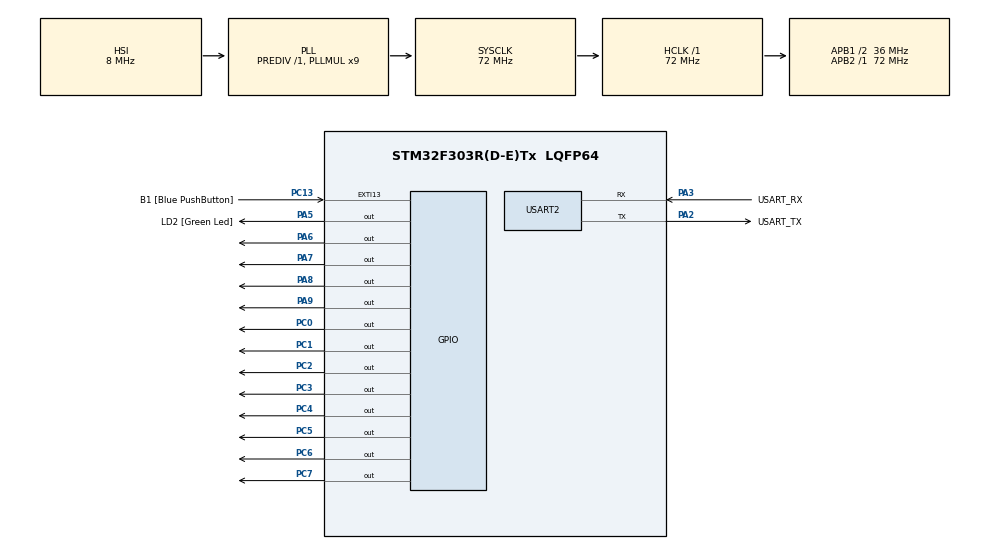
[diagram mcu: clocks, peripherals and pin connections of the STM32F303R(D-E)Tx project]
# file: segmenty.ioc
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Mcu.Family=STM32F3
Mcu.Name=STM32F303R(D-E)Tx
Mcu.Package=LQFP64
NVIC.PriorityGroup=NVIC_PRIORITYGROUP_0
NVIC.TIM1_UP_TIM16_IRQn=true\:0\:0\:false\:false\:true\:true\:true
PA13.GPIO_Label=TMS
PA13.Mode=Serial_Wire
PA13.Signal=SYS_JTMS-SWDIO
PA14.GPIO_Label=TCK
PA14.Mode=Serial_Wire
PA14.Signal=SYS_JTCK-SWCLK
PA2.GPIO_Label=USART_TX
PA2.GPIO_Mode=GPIO_MODE_AF_PP
PA2.GPIO_PuPd=GPIO_NOPULL
PA2.GPIO_Speed=GPIO_SPEED_FREQ_LOW
PA2.Mode=Asynchronous
PA2.Signal=USART2_TX
PA3.GPIO_Label=USART_RX
PA3.GPIO_Mode=GPIO_MODE_AF_PP
PA3.GPIO_PuPd=GPIO_NOPULL
PA3.GPIO_Speed=GPIO_SPEED_FREQ_LOW
PA3.Mode=Asynchronous
PA3.Signal=USART2_RX
PA5.GPIO_Label=LD2 [Green Led]
PA5.GPIO_Mode=GPIO_MODE_OUTPUT_PP
PA5.GPIO_PuPd=GPIO_NOPULL
PA5.GPIO_Speed=GPIO_SPEED_FREQ_LOW
PA5.PinState=GPIO_PIN_SET
PA5.Signal=GPIO_Output
PA6.PinState=GPIO_PIN_SET
PA6.Signal=GPIO_Output
PA7.PinState=GPIO_PIN_SET
PA7.Signal=GPIO_Output
PA8.PinState=GPIO_PIN_SET
PA8.Signal=GPIO_Output
PA9.PinState=GPIO_PIN_SET
PA9.Signal=GPIO_Output
PB3.GPIO_Label=SWO
PB3.Signal=SYS_JTDO-TRACESWO
PC0.PinState=GPIO_PIN_SET
PC0.Signal=GPIO_Output
PC1.PinState=GPIO_PIN_SET
PC1.Signal=GPIO_Output
PC13.GPIO_Label=B1 [Blue PushButton]
PC13.GPIO_ModeDefaultEXTI=GPIO_MODE_IT_FALLING
PC13.Signal=GPXTI13
PC14-OSC32_IN.Mode=LSE-External-Oscillator
PC14-OSC32_IN.Signal=RCC_OSC32_IN
PC15-OSC32_OUT.Mode=LSE-External-Oscillator
PC15-OSC32_OUT.Signal=RCC_OSC32_OUT
PC2.PinState=GPIO_PIN_SET
PC2.Signal=GPIO_Output
PC3.PinState=GPIO_PIN_SET
PC3.Signal=GPIO_Output
PC4.PinState=GPIO_PIN_SET
PC4.Signal=GPIO_Output
PC5.PinState=GPIO_PIN_SET
PC5.Signal=GPIO_Output
PC6.PinState=GPIO_PIN_SET
PC6.Signal=GPIO_Output
PC7.PinState=GPIO_PIN_SET
PC7.Signal=GPIO_Output
PF0-OSC_IN.Mode=HSE-External-Clock-Source
PF0-OSC_IN.Signal=RCC_OSC_IN
PF1-OSC_OUT.Signal=RCC_OSC_OUT
ProjectManager.HeapSize=0x200
ProjectManager.StackSize=0x400
ProjectManager.TargetToolchain=STM32CubeIDE
RCC.AHBFreq_Value=72000000
RCC.APB1CLKDivider=RCC_HCLK_DIV2
RCC.APB1Freq_Value=36000000
RCC.APB1TimFreq_Value=72000000
RCC.APB2Freq_Value=72000000
RCC.APB2TimFreq_Value=72000000
RCC.CortexFreq_Value=72000000
RCC.HCLKFreq_Value=72000000
RCC.HSE_VALUE=8000000
RCC.HSI_VALUE=8000000
RCC.PLLM=8
RCC.PLLMUL=RCC_PLL_MUL9
RCC.PLLN=336
RCC.PLLP=RCC_PLLP_DIV4
RCC.PLLQ=7
RCC.RCC_PLLsource_Clock_Source_FROM_HSE=RCC_HSE_PREDIV_DIV2
RCC.SYSCLKFreq_VALUE=72000000
RCC.SYSCLKSourceVirtual=RCC_SYSCLKSOURCE_PLLCLK
RCC.USBFreq_Value=72000000
TIM16.Period=4999
TIM16.Prescaler=71
USART2.VirtualMode-Asynchronous=VM_ASYNC
VP_TIM16_VS_ClockSourceINT.Mode=Enable_Timer
board=NUCLEO-F303RE

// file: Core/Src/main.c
/* USER CODE BEGIN Header */
/**
  ******************************************************************************
  * @file           : main.c
  * @brief          : Main program body
  ******************************************************************************
  * @attention
  *
  * <h2><center>&copy; Copyright (c) 2020 STMicroelectronics.
  * All rights reserved.</center></h2>
  *
  * This software component is licensed by ST under BSD 3-Clause license,
  * the "License"; You may not use this file except in compliance with the
  * License. You may obtain a copy of the License at:
  *                        opensource.org/licenses/BSD-3-Clause
  *
  ******************************************************************************
  */
/* USER CODE END Header */

#include "main.h"
#include "tim.h"
#include "usart.h"
#include "gpio.h"

/* USER CODE BEGIN Includes */
#include "led7.h"
/* USER CODE END Includes */

/* USER CODE BEGIN PV */
volatile struct disp_char wys[4] = {
		{minus, 0},
		{minus, 0},
		{minus, 0},
		{minus, 0}
};
volatile uint8_t disp_num = 0;
/* USER CODE END PV */

void SystemClock_Config(void);

int main(void)
{

  /* MCU Configuration--------------------------------------------------------*/

  /* Reset of all peripherals, Initializes the Flash interface and the Systick. */
  HAL_Init();

  /* Configure the system clock */
  SystemClock_Config();

  /* Initialize all configured peripherals */
  MX_GPIO_Init();
  MX_USART2_UART_Init();
  MX_TIM16_Init();
  /* USER CODE BEGIN 2 */
  wys[0].code = E;
  wys[1].code = r;
  wys[2].code = r;
  wys[2].dp_en = 1;
  wys[3].code = n2;
  HAL_TIM_Base_Start_IT(&htim16);

  /* USER CODE END 2 */

  /* Infinite loop */
  while (1)
  {

  }
}

void SystemClock_Config(void)
{
  RCC_OscInitTypeDef RCC_OscInitStruct = {0};
  RCC_ClkInitTypeDef RCC_ClkInitStruct = {0};
  RCC_PeriphCLKInitTypeDef PeriphClkInit = {0};

  /** Initializes the CPU, AHB and APB busses clocks
  */
  RCC_OscInitStruct.OscillatorType = RCC_OSCILLATORTYPE_HSI;
  RCC_OscInitStruct.HSIState = RCC_HSI_ON;
  RCC_OscInitStruct.HSICalibrationValue = RCC_HSICALIBRATION_DEFAULT;
  RCC_OscInitStruct.PLL.PLLState = RCC_PLL_ON;
  RCC_OscInitStruct.PLL.PLLSource = RCC_PLLSOURCE_HSI;
  RCC_OscInitStruct.PLL.PLLMUL = RCC_PLL_MUL9;
  RCC_OscInitStruct.PLL.PREDIV = RCC_PREDIV_DIV1;
  if (HAL_RCC_OscConfig(&RCC_OscInitStruct) != HAL_OK)
  {
    Error_Handler();
  }
  /** Initializes the CPU, AHB and APB busses clocks
  */
  RCC_ClkInitStruct.ClockType = RCC_CLOCKTYPE_HCLK|RCC_CLOCKTYPE_SYSCLK
                              |RCC_CLOCKTYPE_PCLK1|RCC_CLOCKTYPE_PCLK2;
  RCC_ClkInitStruct.SYSCLKSource = RCC_SYSCLKSOURCE_PLLCLK;
  RCC_ClkInitStruct.AHBCLKDivider = RCC_SYSCLK_DIV1;
  RCC_ClkInitStruct.APB1CLKDivider = RCC_HCLK_DIV2;
  RCC_ClkInitStruct.APB2CLKDivider = RCC_HCLK_DIV1;

  if (HAL_RCC_ClockConfig(&RCC_ClkInitStruct, FLASH_LATENCY_2) != HAL_OK)
  {
    Error_Handler();
  }
  PeriphClkInit.PeriphClockSelection = RCC_PERIPHCLK_USART2|RCC_PERIPHCLK_TIM16;
  PeriphClkInit.Usart2ClockSelection = RCC_USART2CLKSOURCE_PCLK1;
  PeriphClkInit.Tim16ClockSelection = RCC_TIM16CLK_HCLK;
  if (HAL_RCCEx_PeriphCLKConfig(&PeriphClkInit) != HAL_OK)
  {
    Error_Handler();
  }
}

/* USER CODE BEGIN 4 */
void HAL_TIM_PeriodElapsedCallback(TIM_HandleTypeDef *htim) {
	if(htim->Instance == TIM16)
	{
		led7_clear_disp();
		led7_set_char(wys[disp_num].code, wys[disp_num].dp_en);
		led7_set_disp(disp_num);

		disp_num++;
		if(disp_num > 3)
		{
			disp_num = 0;
		}
	}
}
/* USER CODE END 4 */

void Error_Handler(void)
{
}

/************************ (C) COPYRIGHT STMicroelectronics *****END OF FILE****/
